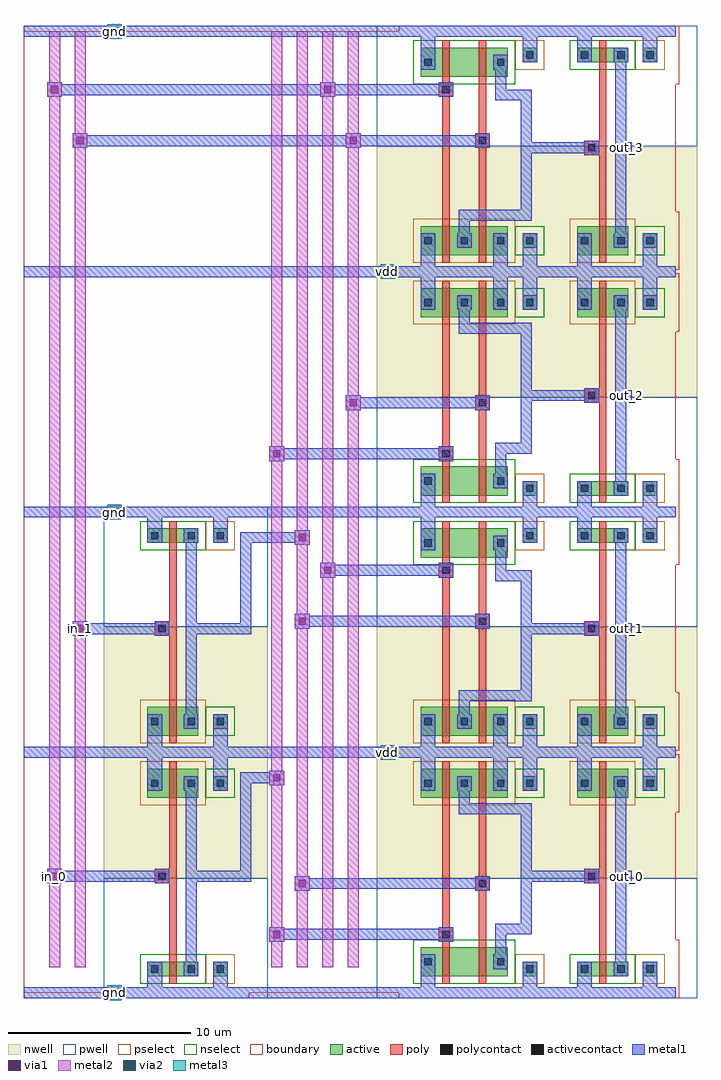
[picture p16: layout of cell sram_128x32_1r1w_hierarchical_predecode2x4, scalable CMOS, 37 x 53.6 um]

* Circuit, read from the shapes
.subckt sram_128x32_1r1w_hierarchical_predecode2x4 gnd in_0 in_1 out_0 out_1 out_2 out_3 vdd
M1 sram_128x32_1r1w_and2_dec_2/A in_0 gnd gnd nfet w=0.8u l=0.4u
M2 sram_128x32_1r1w_and2_dec_2/B in_1 gnd gnd nfet w=0.8u l=0.4u
M3 sram_128x32_1r1w_and2_dec_2/sram_128x32_1r1w_pnand2_0/sram_128x32_1r1w_nmos_m1_w1_600_sm1_dactive_2/D sram_128x32_1r1w_and2_dec_2/A gnd gnd nfet w=1.6u l=0.4u
M4 sram_128x32_1r1w_and2_dec_3/sram_128x32_1r1w_pnand2_0/sram_128x32_1r1w_nmos_m1_w1_600_sm1_dactive_2/D in_0 gnd gnd nfet w=1.6u l=0.4u
M5 sram_128x32_1r1w_and2_dec_4/sram_128x32_1r1w_pnand2_0/sram_128x32_1r1w_nmos_m1_w1_600_sm1_dactive_2/D sram_128x32_1r1w_and2_dec_2/A gnd gnd nfet w=1.6u l=0.4u
M6 sram_128x32_1r1w_and2_dec_5/sram_128x32_1r1w_pnand2_0/sram_128x32_1r1w_nmos_m1_w1_600_sm1_dactive_2/D in_0 gnd gnd nfet w=1.6u l=0.4u
M7 sram_128x32_1r1w_and2_dec_2/sram_128x32_1r1w_pinv_1/A sram_128x32_1r1w_and2_dec_2/B sram_128x32_1r1w_and2_dec_2/sram_128x32_1r1w_pnand2_0/sram_128x32_1r1w_nmos_m1_w1_600_sm1_dactive_2/D gnd nfet w=1.6u l=0.4u
M8 sram_128x32_1r1w_and2_dec_3/sram_128x32_1r1w_pinv_1/A sram_128x32_1r1w_and2_dec_2/B sram_128x32_1r1w_and2_dec_3/sram_128x32_1r1w_pnand2_0/sram_128x32_1r1w_nmos_m1_w1_600_sm1_dactive_2/D gnd nfet w=1.6u l=0.4u
M9 sram_128x32_1r1w_and2_dec_4/sram_128x32_1r1w_pinv_1/A in_1 sram_128x32_1r1w_and2_dec_4/sram_128x32_1r1w_pnand2_0/sram_128x32_1r1w_nmos_m1_w1_600_sm1_dactive_2/D gnd nfet w=1.6u l=0.4u
M10 sram_128x32_1r1w_and2_dec_5/sram_128x32_1r1w_pinv_1/A in_1 sram_128x32_1r1w_and2_dec_5/sram_128x32_1r1w_pnand2_0/sram_128x32_1r1w_nmos_m1_w1_600_sm1_dactive_2/D gnd nfet w=1.6u l=0.4u
M11 out_0 sram_128x32_1r1w_and2_dec_2/sram_128x32_1r1w_pinv_1/A gnd gnd nfet w=0.8u l=0.4u
M12 out_1 sram_128x32_1r1w_and2_dec_3/sram_128x32_1r1w_pinv_1/A gnd gnd nfet w=0.8u l=0.4u
M13 out_2 sram_128x32_1r1w_and2_dec_4/sram_128x32_1r1w_pinv_1/A gnd gnd nfet w=0.8u l=0.4u
M14 out_3 sram_128x32_1r1w_and2_dec_5/sram_128x32_1r1w_pinv_1/A gnd gnd nfet w=0.8u l=0.4u
M15 sram_128x32_1r1w_and2_dec_2/A in_0 vdd vdd pfet w=1.6u l=0.4u
M16 sram_128x32_1r1w_and2_dec_2/B in_1 vdd vdd pfet w=1.6u l=0.4u
M17 sram_128x32_1r1w_and2_dec_2/sram_128x32_1r1w_pinv_1/A sram_128x32_1r1w_and2_dec_2/A vdd vdd pfet w=1.6u l=0.4u
M18 sram_128x32_1r1w_and2_dec_3/sram_128x32_1r1w_pinv_1/A in_0 vdd vdd pfet w=1.6u l=0.4u
M19 sram_128x32_1r1w_and2_dec_4/sram_128x32_1r1w_pinv_1/A sram_128x32_1r1w_and2_dec_2/A vdd vdd pfet w=1.6u l=0.4u
M20 sram_128x32_1r1w_and2_dec_5/sram_128x32_1r1w_pinv_1/A in_0 vdd vdd pfet w=1.6u l=0.4u
M21 vdd sram_128x32_1r1w_and2_dec_2/B sram_128x32_1r1w_and2_dec_2/sram_128x32_1r1w_pinv_1/A vdd pfet w=1.6u l=0.4u
M22 vdd sram_128x32_1r1w_and2_dec_2/B sram_128x32_1r1w_and2_dec_3/sram_128x32_1r1w_pinv_1/A vdd pfet w=1.6u l=0.4u
M23 vdd in_1 sram_128x32_1r1w_and2_dec_4/sram_128x32_1r1w_pinv_1/A vdd pfet w=1.6u l=0.4u
M24 vdd in_1 sram_128x32_1r1w_and2_dec_5/sram_128x32_1r1w_pinv_1/A vdd pfet w=1.6u l=0.4u
M25 out_0 sram_128x32_1r1w_and2_dec_2/sram_128x32_1r1w_pinv_1/A vdd vdd pfet w=1.6u l=0.4u
M26 out_1 sram_128x32_1r1w_and2_dec_3/sram_128x32_1r1w_pinv_1/A vdd vdd pfet w=1.6u l=0.4u
M27 out_2 sram_128x32_1r1w_and2_dec_4/sram_128x32_1r1w_pinv_1/A vdd vdd pfet w=1.6u l=0.4u
M28 out_3 sram_128x32_1r1w_and2_dec_5/sram_128x32_1r1w_pinv_1/A vdd vdd pfet w=1.6u l=0.4u
.ends

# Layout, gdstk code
import gdstk
lib = gdstk.Library(unit=1e-6, precision=1e-09)
def R(c, l, rs):  # rectangles x0, y0, x1, y1
    for r in rs: c.add(gdstk.rectangle(r[:2], r[2:], *l))
def A(c, l, x, y, w, h, nx, ny, dx, dy):  # array of equal rectangles
    R(c, l, [(x+i*dx, y+j*dy, x+i*dx+w, y+j*dy+h) for i in range(nx) for j in range(ny)])
pwell = (41, 0)
nwell = (42, 0)
active = (43, 0)
pselect = (44, 0)
nselect = (45, 0)
poly = (46, 0)
polycontact = (47, 0)
activecontact = (48, 0)
metal1 = (49, 0)
via1 = (50, 0)
metal2 = (51, 0)
via2 = (61, 0)
metal3 = (62, 0)
boundary = (63, 0)

sram_128x32_1r1w_contact = lib.new_cell('sram_128x32_1r1w_contact_11')
R(sram_128x32_1r1w_contact, nwell, [(-1.2,-1.2,2,2)])
R(sram_128x32_1r1w_contact, active, [(0,0,0.8,0.8)])
R(sram_128x32_1r1w_contact, pselect, [(-0.4,-0.4,1.2,1.2)])
R(sram_128x32_1r1w_contact, activecontact, [(0.2,0.2,0.6,0.6)])
R(sram_128x32_1r1w_contact, metal1, [(0,0,0.8,0.8)])
R(sram_128x32_1r1w_contact, boundary, [(-1.2,-1.2,2,2)])

sram_128x32_1r1w_pmos_m1 = lib.new_cell('sram_128x32_1r1w_pmos_m1_w1_600_sm1_dm1_da_p')
R(sram_128x32_1r1w_pmos_m1, nwell, [(-1.2,-1.2,4,2.8)])
R(sram_128x32_1r1w_pmos_m1, active, [(0,0,2.8,1.6)])
R(sram_128x32_1r1w_pmos_m1, pselect, [(-0.4,-0.4,3.2,2)])
R(sram_128x32_1r1w_pmos_m1, poly, [(1.2,-0.4,1.6,2), (1.2,-0.4,1.6,2)])
R(sram_128x32_1r1w_pmos_m1, metal1, [(0,0.4,0.8,1.2), (2,0.4,2.8,1.2)])
R(sram_128x32_1r1w_pmos_m1, boundary, [(-1.2,-1.2,4,2.8)])
sram_128x32_1r1w_pmos_m1.add(gdstk.Reference(sram_128x32_1r1w_contact, (0,0.4)))
sram_128x32_1r1w_pmos_m1.add(gdstk.Reference(sram_128x32_1r1w_contact, (2,0.4)))
sram_128x32_1r1w_pmos_m1.add(gdstk.Label('G', (1.4,0.8), layer=46, texttype=0))
sram_128x32_1r1w_pmos_m1.add(gdstk.Label('S', (0.4,0.8), layer=49, texttype=0))
sram_128x32_1r1w_pmos_m1.add(gdstk.Label('D', (2.4,0.8), layer=49, texttype=0))

c_sram_128x32_1r1w_contact = lib.new_cell('sram_128x32_1r1w_contact_10')
R(c_sram_128x32_1r1w_contact, pwell, [(-1.2,-1.2,2,2)])
R(c_sram_128x32_1r1w_contact, active, [(0,0,0.8,0.8)])
R(c_sram_128x32_1r1w_contact, nselect, [(-0.4,-0.4,1.2,1.2)])
R(c_sram_128x32_1r1w_contact, activecontact, [(0.2,0.2,0.6,0.6)])
R(c_sram_128x32_1r1w_contact, metal1, [(0,0,0.8,0.8)])
R(c_sram_128x32_1r1w_contact, boundary, [(-1.2,-1.2,2,2)])

sram_128x32_1r1w_nmos_m1 = lib.new_cell('sram_128x32_1r1w_nmos_m1_w0_800_sm1_dm1_da_p')
R(sram_128x32_1r1w_nmos_m1, pwell, [(-1.2,-1.2,4,2)])
R(sram_128x32_1r1w_nmos_m1, active, [(0,0,2.8,0.8)])
R(sram_128x32_1r1w_nmos_m1, nselect, [(-0.4,-0.4,3.2,1.2)])
R(sram_128x32_1r1w_nmos_m1, poly, [(1.2,-0.4,1.6,1.2), (1.2,-0.4,1.6,1.2)])
R(sram_128x32_1r1w_nmos_m1, metal1, [(0,0,0.8,0.8), (2,0,2.8,0.8)])
R(sram_128x32_1r1w_nmos_m1, boundary, [(-1.2,-1.2,4,2)])
sram_128x32_1r1w_nmos_m1.add(gdstk.Reference(c_sram_128x32_1r1w_contact, (0,0)))
sram_128x32_1r1w_nmos_m1.add(gdstk.Reference(c_sram_128x32_1r1w_contact, (2,0)))
sram_128x32_1r1w_nmos_m1.add(gdstk.Label('G', (1.4,0.4), layer=46, texttype=0))
sram_128x32_1r1w_nmos_m1.add(gdstk.Label('S', (0.4,0.4), layer=49, texttype=0))
sram_128x32_1r1w_nmos_m1.add(gdstk.Label('D', (2.4,0.4), layer=49, texttype=0))

c_sram_128x32_1r1w_contact_ = lib.new_cell('sram_128x32_1r1w_contact_12')
R(c_sram_128x32_1r1w_contact_, nwell, [(-1.2,-1.2,2,2)])
R(c_sram_128x32_1r1w_contact_, active, [(0,0,0.8,0.8)])
R(c_sram_128x32_1r1w_contact_, nselect, [(-0.4,-0.4,1.2,1.2)])
R(c_sram_128x32_1r1w_contact_, activecontact, [(0.2,0.2,0.6,0.6)])
R(c_sram_128x32_1r1w_contact_, metal1, [(0,0,0.8,0.8)])
R(c_sram_128x32_1r1w_contact_, boundary, [(-1.2,-1.2,2,2)])

c_sram_128x32_1r1w_contact__ = lib.new_cell('sram_128x32_1r1w_contact_13')
R(c_sram_128x32_1r1w_contact__, pwell, [(-1.2,-1.2,2,2)])
R(c_sram_128x32_1r1w_contact__, active, [(0,0,0.8,0.8)])
R(c_sram_128x32_1r1w_contact__, pselect, [(-0.4,-0.4,1.2,1.2)])
R(c_sram_128x32_1r1w_contact__, activecontact, [(0.2,0.2,0.6,0.6)])
R(c_sram_128x32_1r1w_contact__, metal1, [(0,0,0.8,0.8)])
R(c_sram_128x32_1r1w_contact__, boundary, [(-1.2,-1.2,2,2)])

c_sram_128x32_1r1w_contact___ = lib.new_cell('sram_128x32_1r1w_contact_14')
R(c_sram_128x32_1r1w_contact___, poly, [(0,0,0.8,0.8)])
R(c_sram_128x32_1r1w_contact___, polycontact, [(0.2,0.2,0.6,0.6)])
R(c_sram_128x32_1r1w_contact___, metal1, [(0,0,0.8,0.8)])
R(c_sram_128x32_1r1w_contact___, boundary, [(0,0,0.8,0.8)])

sram_128x32_1r1w_pinv = lib.new_cell('sram_128x32_1r1w_pinv')
R(sram_128x32_1r1w_pinv, pwell, [(-1.2,-0.3,7.8,6.3)])
R(sram_128x32_1r1w_pinv, nwell, [(-1.2,6.3,7.8,14.7)])
R(sram_128x32_1r1w_pinv, poly, [(2.4,2.1,2.8,10.3), (2,6,2.4,6.8)])
R(sram_128x32_1r1w_pinv, metal1, [(0,-0.3,6.6,0.3), (1.2,-0.3,2,0.9), (4.8,0,5.6,1.3), (3.3,0.9,3.9,11.9), (1.6,6,2.4,6.8), (3.6,6.1,4.2,6.7), (1.2,11.1,2,13.5), (4.8,11.5,5.6,13.2), (0,12.9,6.6,13.5)])
R(sram_128x32_1r1w_pinv, boundary, [(0,0,6.6,13.2), (0,0,6.6,13.2)])
sram_128x32_1r1w_pinv.add(gdstk.Reference(sram_128x32_1r1w_pmos_m1, (1.2,10.7)))
sram_128x32_1r1w_pinv.add(gdstk.Reference(sram_128x32_1r1w_nmos_m1, (1.2,0.9)))
sram_128x32_1r1w_pinv.add(gdstk.Reference(c_sram_128x32_1r1w_contact_, (4.8,11.1)))
sram_128x32_1r1w_pinv.add(gdstk.Reference(c_sram_128x32_1r1w_contact__, (4.8,0.9)))
sram_128x32_1r1w_pinv.add(gdstk.Reference(c_sram_128x32_1r1w_contact___, (1.6,6)))
sram_128x32_1r1w_pinv.add(gdstk.Label('A', (2,6.4), layer=49, texttype=0))
sram_128x32_1r1w_pinv.add(gdstk.Label('Z', (3.9,6.4), layer=49, texttype=0))
sram_128x32_1r1w_pinv.add(gdstk.Label('gnd', (3.3,0), layer=49, texttype=0))
sram_128x32_1r1w_pinv.add(gdstk.Label('vdd', (3.3,13.2), layer=49, texttype=0))

c_sram_128x32_1r1w_pmos_m1 = lib.new_cell('sram_128x32_1r1w_pmos_m1_w1_600_sm1_dm1')
R(c_sram_128x32_1r1w_pmos_m1, nwell, [(-1.2,-1.2,4,2.8)])
R(c_sram_128x32_1r1w_pmos_m1, active, [(0,0,2.8,1.6)])
R(c_sram_128x32_1r1w_pmos_m1, pselect, [(-0.4,-0.4,3.2,2)])
R(c_sram_128x32_1r1w_pmos_m1, poly, [(1.2,-0.4,1.6,2), (1.2,-0.4,1.6,2)])
R(c_sram_128x32_1r1w_pmos_m1, metal1, [(0,0.4,0.8,1.2), (2,0.4,2.8,1.2)])
R(c_sram_128x32_1r1w_pmos_m1, boundary, [(-1.2,-1.2,4,2.8)])
c_sram_128x32_1r1w_pmos_m1.add(gdstk.Reference(sram_128x32_1r1w_contact, (0,0.4)))
c_sram_128x32_1r1w_pmos_m1.add(gdstk.Reference(sram_128x32_1r1w_contact, (2,0.4)))
c_sram_128x32_1r1w_pmos_m1.add(gdstk.Label('G', (1.4,0.8), layer=46, texttype=0))
c_sram_128x32_1r1w_pmos_m1.add(gdstk.Label('S', (0.4,0.8), layer=49, texttype=0))
c_sram_128x32_1r1w_pmos_m1.add(gdstk.Label('D', (2.4,0.8), layer=49, texttype=0))

c_sram_128x32_1r1w_nmos_m1 = lib.new_cell('sram_128x32_1r1w_nmos_m1_w1_600_sm1_dactive')
R(c_sram_128x32_1r1w_nmos_m1, pwell, [(-1.2,-1.2,4,2.8)])
R(c_sram_128x32_1r1w_nmos_m1, active, [(0,0,2.8,1.6), (2.1,0.5,2.7,1.1)])
R(c_sram_128x32_1r1w_nmos_m1, nselect, [(-0.4,-0.4,3.2,2)])
R(c_sram_128x32_1r1w_nmos_m1, poly, [(1.2,-0.4,1.6,2), (1.2,-0.4,1.6,2)])
R(c_sram_128x32_1r1w_nmos_m1, metal1, [(0,0.4,0.8,1.2)])
R(c_sram_128x32_1r1w_nmos_m1, boundary, [(-1.2,-1.2,4,2.8)])
c_sram_128x32_1r1w_nmos_m1.add(gdstk.Reference(c_sram_128x32_1r1w_contact, (0,0.4)))
c_sram_128x32_1r1w_nmos_m1.add(gdstk.Label('G', (1.4,0.8), layer=46, texttype=0))
c_sram_128x32_1r1w_nmos_m1.add(gdstk.Label('S', (0.4,0.8), layer=49, texttype=0))
c_sram_128x32_1r1w_nmos_m1.add(gdstk.Label('D', (2.4,0.8), layer=43, texttype=0))

c_sram_128x32_1r1w_nmos_m1_ = lib.new_cell('sram_128x32_1r1w_nmos_m1_w1_600_sactive_dm1')
R(c_sram_128x32_1r1w_nmos_m1_, pwell, [(-1.2,-1.2,4,2.8)])
R(c_sram_128x32_1r1w_nmos_m1_, active, [(0,0,2.8,1.6), (0.1,0.5,0.7,1.1)])
R(c_sram_128x32_1r1w_nmos_m1_, nselect, [(-0.4,-0.4,3.2,2)])
R(c_sram_128x32_1r1w_nmos_m1_, poly, [(1.2,-0.4,1.6,2), (1.2,-0.4,1.6,2)])
R(c_sram_128x32_1r1w_nmos_m1_, metal1, [(2,0.4,2.8,1.2)])
R(c_sram_128x32_1r1w_nmos_m1_, boundary, [(-1.2,-1.2,4,2.8)])
c_sram_128x32_1r1w_nmos_m1_.add(gdstk.Reference(c_sram_128x32_1r1w_contact, (2,0.4)))
c_sram_128x32_1r1w_nmos_m1_.add(gdstk.Label('G', (1.4,0.8), layer=46, texttype=0))
c_sram_128x32_1r1w_nmos_m1_.add(gdstk.Label('S', (0.4,0.8), layer=43, texttype=0))
c_sram_128x32_1r1w_nmos_m1_.add(gdstk.Label('D', (2.4,0.8), layer=49, texttype=0))

sram_128x32_1r1w_pnand2 = lib.new_cell('sram_128x32_1r1w_pnand2')
R(sram_128x32_1r1w_pnand2, pwell, [(-1.2,-0.3,9.8,6.3)])
R(sram_128x32_1r1w_pnand2, nwell, [(-1.2,6.3,9.8,14.7)])
R(sram_128x32_1r1w_pnand2, poly, [(2.4,2.8,2.6,3.6), (2.4,2.9,2.8,10.3), (4.4,2.9,4.8,10.3), (4.4,5.6,4.6,6.4)])
R(sram_128x32_1r1w_pnand2, metal1, [(0,-0.3,8.6,0.3), (1.2,-0.3,2,1.3), (6.8,0,7.6,1.3), (5.3,2.1,5.9,3.5), (2.2,2.8,3,3.6), (5.3,3.2,5.9,3.8), (5.6,3.2,7,3.8), (6.7,3.2,7.3,3.8), (6.7,3.5,7.3,10.1), (4.2,5.6,5,6.4), (3.3,9.8,3.9,10.4), (3.6,9.8,7,10.4), (6.7,9.8,7.3,10.4), (3.3,10.1,3.9,11.1), (1.2,11.1,2,13.5), (5.2,11.1,6,13.5), (6.8,11.5,7.6,13.2), (0,12.9,8.6,13.5)])
R(sram_128x32_1r1w_pnand2, boundary, [(0,0,8.6,13.2), (0,0,8.6,13.2)])
sram_128x32_1r1w_pnand2.add(gdstk.Reference(c_sram_128x32_1r1w_pmos_m1, (1.2,10.7)))
sram_128x32_1r1w_pnand2.add(gdstk.Reference(c_sram_128x32_1r1w_pmos_m1, (3.2,10.7)))
sram_128x32_1r1w_pnand2.add(gdstk.Reference(c_sram_128x32_1r1w_nmos_m1, (1.2,0.9)))
sram_128x32_1r1w_pnand2.add(gdstk.Reference(c_sram_128x32_1r1w_nmos_m1_, (3.2,0.9)))
sram_128x32_1r1w_pnand2.add(gdstk.Reference(c_sram_128x32_1r1w_contact_, (6.8,11.1)))
sram_128x32_1r1w_pnand2.add(gdstk.Reference(c_sram_128x32_1r1w_contact__, (6.8,0.9)))
sram_128x32_1r1w_pnand2.add(gdstk.Reference(c_sram_128x32_1r1w_contact___, (2.2,2.8)))
sram_128x32_1r1w_pnand2.add(gdstk.Reference(c_sram_128x32_1r1w_contact___, (4.2,5.6)))
sram_128x32_1r1w_pnand2.add(gdstk.Label('Z', (7,10.1), layer=49, texttype=0))
sram_128x32_1r1w_pnand2.add(gdstk.Label('gnd', (4.3,0), layer=49, texttype=0))
sram_128x32_1r1w_pnand2.add(gdstk.Label('vdd', (4.3,13.2), layer=49, texttype=0))
sram_128x32_1r1w_pnand2.add(gdstk.Label('A', (2.6,3.2), layer=49, texttype=0))
sram_128x32_1r1w_pnand2.add(gdstk.Label('B', (4.6,6), layer=49, texttype=0))

sram_128x32_1r1w_and2_de = lib.new_cell('sram_128x32_1r1w_and2_dec')
R(sram_128x32_1r1w_and2_de, metal1, [(0,-0.3,15.2,0.3), (2.2,2.8,3,3.6), (4.2,5.6,5,6.4), (6.7,6.1,7.3,6.7), (7,6.1,10.6,6.7), (12.2,6.1,12.8,6.7), (6.7,6.4,7.3,10.1), (0,12.9,15.2,13.5)])
R(sram_128x32_1r1w_and2_de, boundary, [(0,0,15.2,13.2)])
sram_128x32_1r1w_and2_de.add(gdstk.Reference(sram_128x32_1r1w_pnand2, (0,0)))
sram_128x32_1r1w_and2_de.add(gdstk.Reference(sram_128x32_1r1w_pinv, (8.6,0)))
sram_128x32_1r1w_and2_de.add(gdstk.Label('Z', (12.5,6.4), layer=49, texttype=0))
sram_128x32_1r1w_and2_de.add(gdstk.Label('A', (2.6,3.2), layer=49, texttype=0))
sram_128x32_1r1w_and2_de.add(gdstk.Label('B', (4.6,6), layer=49, texttype=0))
sram_128x32_1r1w_and2_de.add(gdstk.Label('gnd', (7.6,0), layer=49, texttype=0))
sram_128x32_1r1w_and2_de.add(gdstk.Label('vdd', (7.6,13.2), layer=49, texttype=0))

c_sram_128x32_1r1w_contact____ = lib.new_cell('sram_128x32_1r1w_contact_15')
R(c_sram_128x32_1r1w_contact____, metal1, [(0,0,0.8,0.8)])
R(c_sram_128x32_1r1w_contact____, via1, [(0.2,0.2,0.6,0.6)])
R(c_sram_128x32_1r1w_contact____, metal2, [(0,0,0.8,0.8)])
R(c_sram_128x32_1r1w_contact____, boundary, [(0,0,0.8,0.8)])

c_sram_128x32_1r1w_contact_____ = lib.new_cell('sram_128x32_1r1w_contact_17')
R(c_sram_128x32_1r1w_contact_____, metal1, [(0,0,0.8,0.8)])
R(c_sram_128x32_1r1w_contact_____, via1, [(0.2,0.2,0.6,0.6)])
R(c_sram_128x32_1r1w_contact_____, metal2, [(0,0,0.8,0.8)])
R(c_sram_128x32_1r1w_contact_____, boundary, [(0,0,0.8,0.8)])

c_sram_128x32_1r1w_contact______ = lib.new_cell('sram_128x32_1r1w_contact_18')
R(c_sram_128x32_1r1w_contact______, metal2, [(0,0,0.8,0.8)])
R(c_sram_128x32_1r1w_contact______, via2, [(0.2,0.2,0.6,0.6)])
R(c_sram_128x32_1r1w_contact______, metal3, [(0,0,0.8,0.8)])
R(c_sram_128x32_1r1w_contact______, boundary, [(0,0,0.8,0.8)])

sram_128x32_1r1w_hierarc = lib.new_cell('sram_128x32_1r1w_hierarchical_predecode2x4')
R(sram_128x32_1r1w_hierarc, metal1, [(0,-0.3,35.8,0.3), (13.9,2.9,23.2,3.5), (22.9,2.9,23.5,3.5), (15.3,5.7,25.2,6.3), (24.9,5.7,25.5,6.3), (1.7,6.1,7.6,6.7), (7.3,6.1,7.9,6.7), (9.5,6.1,10.1,6.7), (9.8,6.1,12.2,6.7), (11.9,6.1,12.5,6.7), (32.8,6.1,33.4,6.7), (11.9,6.4,12.5,11.8), (11.9,11.5,12.5,12.1), (12.2,11.5,13.9,12.1), (0,12.9,35.8,13.5), (0,12.9,35.8,13.5), (3.1,19.7,7.6,20.3), (7.3,19.7,7.9,20.3), (9.5,19.7,10.1,20.3), (9.8,19.7,12.2,20.3), (11.9,19.7,12.5,20.3), (32.8,19.7,33.4,20.3), (11.9,20,12.5,25), (15.3,20.1,25.2,20.7), (24.9,20.1,25.5,20.7), (16.7,22.9,23.2,23.5), (22.9,22.9,23.5,23.5), (11.9,24.7,12.5,25.3), (12.2,24.7,15.3,25.3), (0,26.1,35.8,26.7), (0,26.1,35.8,26.7), (13.9,29.3,23.2,29.9), (22.9,29.3,23.5,29.9), (18.1,32.1,25.2,32.7), (24.9,32.1,25.5,32.7), (32.8,32.5,33.4,33.1), (0,39.3,35.8,39.9), (0,39.3,35.8,39.9), (32.8,46.1,33.4,46.7), (3.1,46.5,18.1,47.1), (18.1,46.5,25.2,47.1), (24.9,46.5,25.5,47.1), (1.7,49.3,16.7,49.9), (16.7,49.3,23.2,49.9), (22.9,49.3,23.5,49.9), (0,52.5,35.8,53.1)])
A(sram_128x32_1r1w_hierarc, metal2, 13.6, 1.4, 0.6, 51.4, 4, 1, 1.4, 0)
R(sram_128x32_1r1w_hierarc, metal2, [(1.4,1.4,2,52.8), (2.8,1.4,3.4,52.8), (1.3,6,2.1,6.8), (2.7,19.6,3.5,20.4)])
A(sram_128x32_1r1w_hierarc, metal3, 4.6, -0.4, 0.8, 0.8, 1, 3, 0, 26.4)
R(sram_128x32_1r1w_hierarc, metal3, [(19.6,12.8,20.4,13.6), (19.6,39.2,20.4,40)])
R(sram_128x32_1r1w_hierarc, boundary, [(0,0,35.8,52.8)])
sram_128x32_1r1w_hierarc.add(gdstk.Reference(sram_128x32_1r1w_pinv, (5.6,0)))
sram_128x32_1r1w_hierarc.add(gdstk.Reference(sram_128x32_1r1w_pinv, (5.6,26.4), x_reflection=True))
sram_128x32_1r1w_hierarc.add(gdstk.Reference(sram_128x32_1r1w_and2_de, (20.6,0)))
sram_128x32_1r1w_hierarc.add(gdstk.Reference(sram_128x32_1r1w_and2_de, (20.6,26.4), x_reflection=True))
sram_128x32_1r1w_hierarc.add(gdstk.Reference(sram_128x32_1r1w_and2_de, (20.6,26.4)))
sram_128x32_1r1w_hierarc.add(gdstk.Reference(sram_128x32_1r1w_and2_de, (20.6,52.8), x_reflection=True))
sram_128x32_1r1w_hierarc.add(gdstk.Reference(c_sram_128x32_1r1w_contact____, (1.3,6)))
sram_128x32_1r1w_hierarc.add(gdstk.Reference(c_sram_128x32_1r1w_contact____, (2.7,19.6)))
sram_128x32_1r1w_hierarc.add(gdstk.Reference(c_sram_128x32_1r1w_contact____, (13.5,2.8)))
sram_128x32_1r1w_hierarc.add(gdstk.Reference(c_sram_128x32_1r1w_contact____, (14.9,5.6)))
sram_128x32_1r1w_hierarc.add(gdstk.Reference(c_sram_128x32_1r1w_contact____, (16.3,22.8)))
sram_128x32_1r1w_hierarc.add(gdstk.Reference(c_sram_128x32_1r1w_contact____, (14.9,20)))
sram_128x32_1r1w_hierarc.add(gdstk.Reference(c_sram_128x32_1r1w_contact____, (13.5,29.2)))
sram_128x32_1r1w_hierarc.add(gdstk.Reference(c_sram_128x32_1r1w_contact____, (17.7,32)))
sram_128x32_1r1w_hierarc.add(gdstk.Reference(c_sram_128x32_1r1w_contact____, (16.3,49.2)))
sram_128x32_1r1w_hierarc.add(gdstk.Reference(c_sram_128x32_1r1w_contact____, (17.7,46.4)))
sram_128x32_1r1w_hierarc.add(gdstk.Reference(c_sram_128x32_1r1w_contact____, (13.5,11.4)))
sram_128x32_1r1w_hierarc.add(gdstk.Reference(c_sram_128x32_1r1w_contact____, (14.9,24.6)))
sram_128x32_1r1w_hierarc.add(gdstk.Reference(c_sram_128x32_1r1w_contact_____, (1.3,49.2)))
sram_128x32_1r1w_hierarc.add(gdstk.Reference(c_sram_128x32_1r1w_contact_____, (16.3,49.2)))
sram_128x32_1r1w_hierarc.add(gdstk.Reference(c_sram_128x32_1r1w_contact_____, (2.7,46.4)))
sram_128x32_1r1w_hierarc.add(gdstk.Reference(c_sram_128x32_1r1w_contact_____, (17.7,46.4)))
sram_128x32_1r1w_hierarc.add(gdstk.Reference(c_sram_128x32_1r1w_contact_____, (19.6,12.8)))
sram_128x32_1r1w_hierarc.add(gdstk.Reference(c_sram_128x32_1r1w_contact______, (19.6,12.8)))
sram_128x32_1r1w_hierarc.add(gdstk.Reference(c_sram_128x32_1r1w_contact_____, (4.6,-0.4)))
sram_128x32_1r1w_hierarc.add(gdstk.Reference(c_sram_128x32_1r1w_contact______, (4.6,-0.4)))
sram_128x32_1r1w_hierarc.add(gdstk.Reference(c_sram_128x32_1r1w_contact_____, (19.6,12.8)))
sram_128x32_1r1w_hierarc.add(gdstk.Reference(c_sram_128x32_1r1w_contact______, (19.6,12.8)))
sram_128x32_1r1w_hierarc.add(gdstk.Reference(c_sram_128x32_1r1w_contact_____, (4.6,26)))
sram_128x32_1r1w_hierarc.add(gdstk.Reference(c_sram_128x32_1r1w_contact______, (4.6,26)))
sram_128x32_1r1w_hierarc.add(gdstk.Reference(c_sram_128x32_1r1w_contact_____, (19.6,39.2)))
sram_128x32_1r1w_hierarc.add(gdstk.Reference(c_sram_128x32_1r1w_contact______, (19.6,39.2)))
sram_128x32_1r1w_hierarc.add(gdstk.Reference(c_sram_128x32_1r1w_contact_____, (4.6,26)))
sram_128x32_1r1w_hierarc.add(gdstk.Reference(c_sram_128x32_1r1w_contact______, (4.6,26)))
sram_128x32_1r1w_hierarc.add(gdstk.Reference(c_sram_128x32_1r1w_contact_____, (19.6,39.2)))
sram_128x32_1r1w_hierarc.add(gdstk.Reference(c_sram_128x32_1r1w_contact______, (19.6,39.2)))
sram_128x32_1r1w_hierarc.add(gdstk.Reference(c_sram_128x32_1r1w_contact_____, (4.6,52.4)))
sram_128x32_1r1w_hierarc.add(gdstk.Reference(c_sram_128x32_1r1w_contact______, (4.6,52.4)))
sram_128x32_1r1w_hierarc.add(gdstk.Label('in_0', (1.7,6.4), layer=51, texttype=0))
sram_128x32_1r1w_hierarc.add(gdstk.Label('in_1', (3.1,20), layer=51, texttype=0))
sram_128x32_1r1w_hierarc.add(gdstk.Label('out_0', (33.1,6.4), layer=49, texttype=0))
sram_128x32_1r1w_hierarc.add(gdstk.Label('out_1', (33.1,20), layer=49, texttype=0))
sram_128x32_1r1w_hierarc.add(gdstk.Label('out_2', (33.1,32.8), layer=49, texttype=0))
sram_128x32_1r1w_hierarc.add(gdstk.Label('out_3', (33.1,46.4), layer=49, texttype=0))
sram_128x32_1r1w_hierarc.add(gdstk.Label('vdd', (20,39.6), layer=62, texttype=0))
sram_128x32_1r1w_hierarc.add(gdstk.Label('vdd', (20,13.2), layer=62, texttype=0))
sram_128x32_1r1w_hierarc.add(gdstk.Label('gnd', (5,0), layer=62, texttype=0))
sram_128x32_1r1w_hierarc.add(gdstk.Label('gnd', (5,26.4), layer=62, texttype=0))
sram_128x32_1r1w_hierarc.add(gdstk.Label('gnd', (5,52.8), layer=62, texttype=0))

lib.write_gds('sram_128x32_1r1w_hierarchical_predecode2x4.gds')
